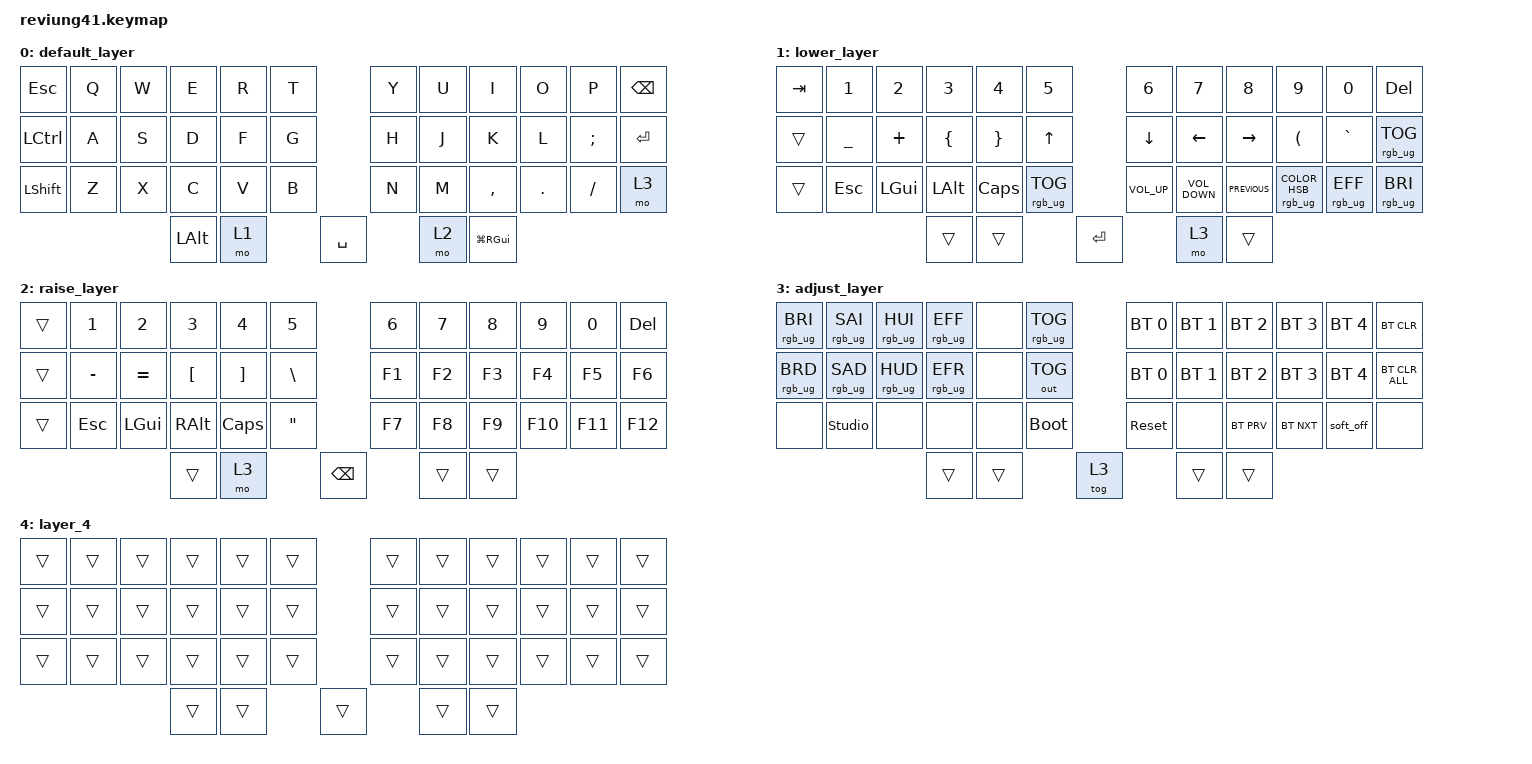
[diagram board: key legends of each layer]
/*
 * Copyright (c) 2020 The ZMK Contributors
 *
 * SPDX-License-Identifier: MIT
 */

#include <behaviors.dtsi>
#include <dt-bindings/zmk/bt.h>
#include <dt-bindings/zmk/keys.h>
#include <dt-bindings/zmk/outputs.h>
#include <dt-bindings/zmk/rgb.h>

/ {
    behaviors {
        HMR: HMR {
            compatible = "zmk,behavior-hold-tap";
            label = "HMR";
            bindings = <&kp>, <&kp>;

            #binding-cells = <2>;
            tapping-term-ms = <500>;
            quick-tap-ms = <280>;
            hold-trigger-on-release;
        };

        MKP: MKP {
            compatible = "zmk,behavior-mouse-key-press";
            label = "MKP";
            #binding-cells = <1>;
        };
    };

    keymap {
        compatible = "zmk,keymap";

        default_layer {
            // -------------------------------------------------------------------------------------
            // |  TAB |  Q  |  W  |  E  |  R  |  T  |   |  Y  |  U   |  I  |  O  |  P  |   BSPC    |
            // | CTRL |  A  |  S  |  D  |  F  |  G  |   |  H  |  J   |  K  |  L  |  ;  |    '      |
            // | SHFT |  Z  |  X  |  C  |  V  |  B  |   |  N  |  M   |  ,  |  .  |  /  | SHFT(RET) |
            //                         | ALT | LWR | SPC | RSE  | ALT |

            bindings = <
&kp ESCAPE        &kp Q  &kp W  &kp E     &kp R  &kp T             &kp Y  &kp U  &kp I         &kp O    &kp P          &kp BACKSPACE
&kp LEFT_CONTROL  &kp A  &kp S  &kp D     &kp F  &kp G             &kp H  &kp J  &kp K         &kp L    &kp SEMICOLON  &kp ENTER
&kp LEFT_SHIFT    &kp Z  &kp X  &kp C     &kp V  &kp B             &kp N  &kp M  &kp COMMA     &kp DOT  &kp FSLH       &mo 3
                                &kp LALT  &mo 1         &kp SPACE         &mo 2  &kp LG(RGUI)
            >;
        };

        lower_layer {
            // ------------------------------------------------------------------------------------
            // |    |  !  |  @  |  #  |  $  |  %  |   |  ^  |  &  |  *  |  (  |  )  |      DEL    |
            // |    |  _  |  +  |  {  |  }  | "|" |   | LFT | DWN |  UP | RGT |  `  |       ~     |
            // |    | ESC | GUI | ALT | CAPS|  "  |   | HOME| END | PGUP| PGDN| PRSC| SHFT(SPACE) |
            //                       |     |     | RET | ADJ |     |

            bindings = <
&kp TAB  &kp NUMBER_1  &kp NUMBER_2  &kp NUMBER_3  &kp NUMBER_4  &kp N5                    &kp NUMBER_6    &kp N7             &kp N8          &kp N9                           &kp N0           &kp DEL
&trans   &kp UNDER     &kp PLUS      &kp LBRC      &kp RBRC      &kp UP_ARROW              &kp DOWN_ARROW  &kp LEFT           &kp RIGHT       &kp LEFT_PARENTHESIS             &kp GRAVE        &rgb_ug RGB_TOG
&trans   &kp ESC       &kp LGUI      &kp LALT      &kp CLCK      &rgb_ug RGB_TOG           &kp C_VOL_UP    &kp C_VOLUME_DOWN  &kp C_PREVIOUS  &rgb_ug RGB_COLOR_HSB(0,100,50)  &rgb_ug RGB_EFF  &rgb_ug RGB_BRI
                                     &trans        &trans                         &kp RET                  &mo 3              &trans
            >;
        };

        raise_layer {
            // ----------------------------------------------------------------------------
            // |    |  1  |  2  |  3  |  4  |  5  |   |  6  |  7  |  8  |  9  |  0  | DEL |
            // |    |  -  |  =  |  [  |  ]  |  \  |   | F1  | F2  | F3  | F4  | F5  | F6  |
            // |    | ESC | GUI | ALT | CAPS|  "  |   | F7  | F8  | F9  | F10 | F11 | F12 |
            //                       |     | ADJ | BSPC |    |     |

            bindings = <
&trans  &kp N1     &kp N2     &kp N3    &kp N4    &kp N5              &kp N6  &kp N7  &kp N8  &kp N9   &kp N0   &kp DEL
&trans  &kp MINUS  &kp EQUAL  &kp LBKT  &kp RBKT  &kp BSLH            &kp F1  &kp F2  &kp F3  &kp F4   &kp F5   &kp F6
&trans  &kp ESC    &kp LGUI   &kp RALT  &kp CLCK  &kp DQT             &kp F7  &kp F8  &kp F9  &kp F10  &kp F11  &kp F12
                              &trans    &mo 3               &kp BSPC          &trans  &trans
            >;
        };

        adjust_layer {
            // -----------------------------------------------------------------------------------------
            // | RGB BRI+ | RGB SAT+ | RGB HUE+ | RGB ANI+ |    | RGB TOG |   |  BT1  | BT2 | BT3 | BT4 | BT5 | BT CLR |
            // | RGB BRI- | RGB SAT- | RGB HUE- | RGB ANI- |    |         |   |       |     |     |     |     |        |
            // |          |          |          |          |    |         |   | RESET |     |     |     |     |        |
            //                                              |     |     |     |     |     |

            bindings = <
&rgb_ug RGB_BRI  &rgb_ug RGB_SAI  &rgb_ug RGB_HUI  &rgb_ug RGB_EFF  &none   &rgb_ug RGB_TOG          &bt BT_SEL 0  &bt BT_SEL 1  &bt BT_SEL 2  &bt BT_SEL 3  &bt BT_SEL 4  &bt BT_CLR
&rgb_ug RGB_BRD  &rgb_ug RGB_SAD  &rgb_ug RGB_HUD  &rgb_ug RGB_EFR  &none   &out OUT_TOG             &bt BT_SEL 0  &bt BT_SEL 1  &bt BT_SEL 2  &bt BT_SEL 3  &bt BT_SEL 4  &bt BT_CLR_ALL
&none            &studio_unlock   &none            &none            &none   &bootloader              &sys_reset    &none         &bt BT_PRV    &bt BT_NXT    &soft_off     &none
                                                   &trans           &trans                   &tog 3                &trans        &trans
            >;
        };

        layer_4 {
            bindings = <
&trans  &trans  &trans  &trans  &trans  &trans          &trans  &trans  &trans  &trans  &trans  &trans
&trans  &trans  &trans  &trans  &trans  &trans          &trans  &trans  &trans  &trans  &trans  &trans
&trans  &trans  &trans  &trans  &trans  &trans          &trans  &trans  &trans  &trans  &trans  &trans
                        &trans  &trans          &trans          &trans  &trans
            >;
        };
    };
};
